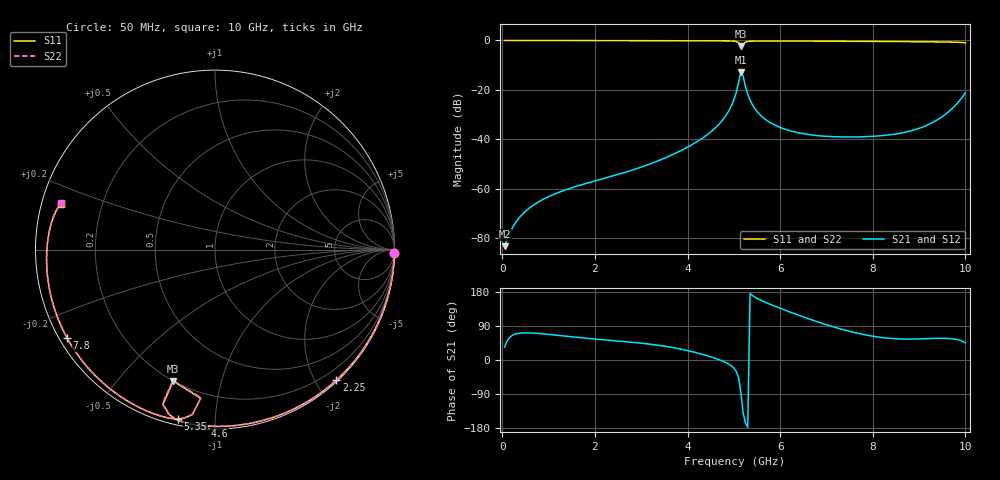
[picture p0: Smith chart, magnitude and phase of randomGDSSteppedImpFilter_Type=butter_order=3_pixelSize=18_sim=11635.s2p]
! freq	dB(S11)	phase(S11)	dB(S12)	phase(S12)
!  dB(S21)	phase(S21)	dB(S22)	phase(S22)
!S-par simulation data
#  GHz  S  DB  R 50
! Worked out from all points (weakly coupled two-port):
!   200 points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, 50 MHz to 10 GHz, reference 50 ohm
!   highest |S21| = -12.96 dB at 5.15 GHz (marker M1); lowest = -83.3 dB at 50 MHz (marker M2)
!   lowest |S11| = -2.3 dB at 5.15 GHz (marker M3), VSWR 7.68, Z = 9.91 - j35.6 ohm
!   |S11| at or under -10 dB: nowhere
!   |S22| runs from -2.3 to 0.0 dB; largest |S21 - S12| = 0
!   S11 on the Smith chart (normalised r, x): 50 MHz: open; 2.25 GHz: 0.02, -2.29; 4.6 GHz: 0.02, -0.94; 5.35 GHz: 0.03, -0.80; 7.8 GHz: 0.02, -0.28; 10 GHz: 0.06, +0.15
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0.05  -0.00 -1.1  -83.31 34.0  -83.31 34.0  -0.00 -1.1
0.1  -0.00 -2.1  -80.86 49.6  -80.86 49.6  -0.00 -2.2
0.4  -0.01 -8.6  -71.06 71.1  -71.06 71.1  -0.01 -8.6
0.65  -0.01 -13.9  -66.96 71.1  -66.96 71.1  -0.01 -13.9
1.75  -0.05 -36.9  -58.22 58.2  -58.22 58.2  -0.05 -37.0
2.25  -0.06 -47.1  -55.59 52.6  -55.59 52.6  -0.06 -47.2
3.4  -0.09 -70.0  -48.47 38.3  -48.47 38.3  -0.09 -70.0
4.15  -0.12 -84.5  -41.62 20.4  -41.62 20.4  -0.12 -84.6
4.6  -0.14 -93.3  -35.41 4.4  -35.41 4.4  -0.14 -93.4
4.9  -0.20 -100.1  -28.20 -11.6  -28.20 -11.6  -0.20 -100.2
5.05  -0.41 -105.5  -21.13 -29.6  -21.13 -29.6  -0.42 -105.7
5.15  -2.28 -107.6  -12.96 -83.9  -12.96 -83.9  -2.32 -107.8
5.2  -1.60 -95.5  -14.35 -139.6  -14.35 -139.6  -1.63 -95.4
5.35  -0.30 -102.4  -24.16 175.4  -24.16 175.4  -0.30 -102.4
5.55  -0.22 -107.6  -29.79 159.7  -29.79 159.7  -0.22 -107.7
5.8  -0.21 -112.8  -33.44 146.2  -33.44 146.2  -0.21 -112.8
6.7  -0.26 -129.3  -38.32 105.1  -38.32 105.1  -0.26 -129.4
7.8  -0.35 -149.2  -39.00 67.2  -39.00 67.2  -0.36 -149.4
8.35  -0.41 -159.4  -38.25 57.3  -38.25 57.3  -0.42 -159.7
9.3  -0.55 -178.5  -33.15 57.0  -33.15 57.0  -0.56 -178.8
9.7  -0.66 172.2  -27.83 56.2  -27.83 56.2  -0.67 171.9
10  -0.96 163.4  -21.15 45.1  -21.15 45.1  -0.96 163.0
